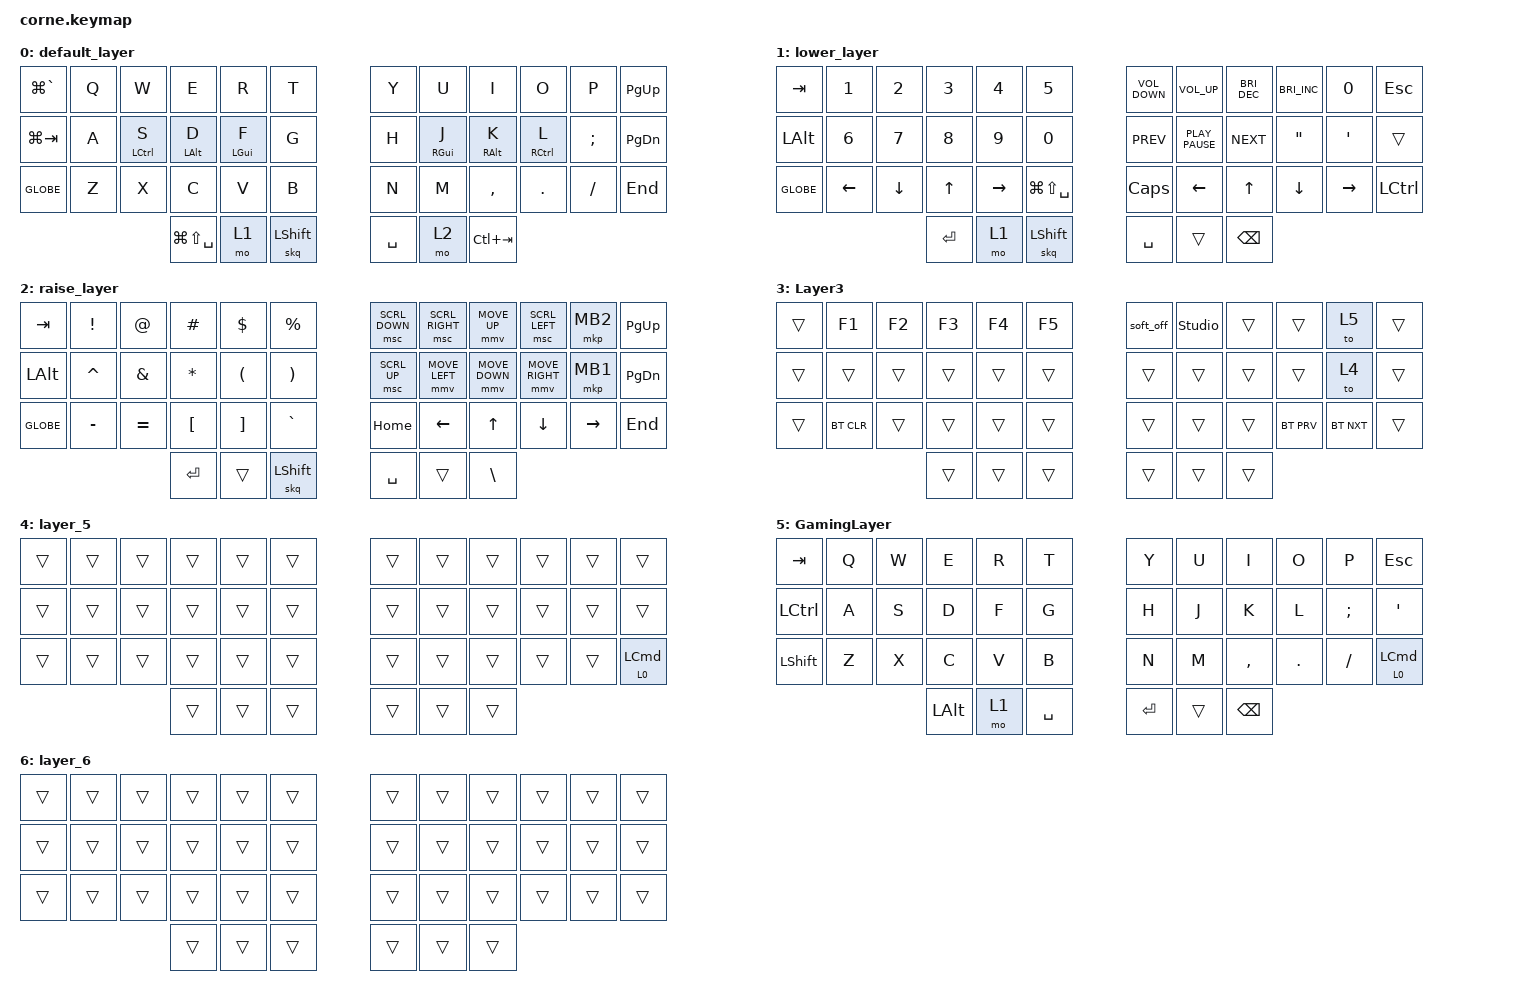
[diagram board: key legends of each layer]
/*
 * Copyright (c) 2020 The ZMK Contributors
 *
 * SPDX-License-Identifier: MIT
 */

#include <behaviors.dtsi>
#include <dt-bindings/zmk/bt.h>
#include <dt-bindings/zmk/keys.h>
#include <dt-bindings/zmk/pointing.h>

/ {
    behaviors {
        HML: HML {
            compatible = "zmk,behavior-hold-tap";
            label = "HML";
            bindings = <&kp>, <&kp>;

            #binding-cells = <2>;
            tapping-term-ms = <280>;
            flavor = "balanced";
            hold-while-undecided;
            hold-trigger-key-positions = <6 6 7 8 9 10 11 18 19 20 21 22 23 30 31 32 33 34 35 39 40 41>;
            hold-trigger-on-release;
            quick-tap-ms = <175>;
            require-prior-idle-ms = <150>;
        };

        HMR: HMR {
            compatible = "zmk,behavior-hold-tap";
            label = "HMR";
            bindings = <&kp>, <&kp>;

            #binding-cells = <2>;
            tapping-term-ms = <280>;
            flavor = "balanced";
            hold-while-undecided;
            hold-trigger-on-release;
            hold-trigger-key-positions = <2 3 4 5 14 15 16 17 26 27 28 29 36 37 38 0 1 12 13 24 25>;
            quick-tap-ms = <175>;
            require-prior-idle-ms = <150>;
        };

        resetLayer: resetLayer {
            compatible = "zmk,behavior-hold-tap";
            label = "RESETLAYER";
            bindings = <&to>, <&kp>;

            #binding-cells = <2>;
            flavor = "balanced";
            tapping-term-ms = <350>;
        };

        skq: skq {
            compatible = "zmk,behavior-sticky-key";
            label = "SKQ";
            bindings = <&sk>;
            #binding-cells = <1>;
            quick-release;
            release-after-ms = <1000>;
            ignore-modifiers;
        };

        LayerLeft: LayerLeft {
            compatible = "zmk,behavior-hold-tap";
            label = "LAYERLEFT";
            #binding-cells = <2>;
            tapping-term-ms = <280>;
            flavor = "balanced";
            hold-while-undecided;
            hold-trigger-on-release;
            quick-tap-ms = <175>;
            require-prior-idle-ms = <150>;
            bindings = <&mo>, <&kp>;

            hold-trigger-key-positions = <6 7 8 9 10 11 18 19 20 21 22 23 30 31 32 33 34 35 39 40 41>;
        };

        LayerRight: LayerRight {
            compatible = "zmk,behavior-hold-tap";
            label = "LAYERRIGHT";
            bindings = <&kp>, <&kp>;

            #binding-cells = <2>;
            tapping-term-ms = <280>;
            flavor = "balanced";
            hold-while-undecided;
            hold-trigger-on-release;
            hold-trigger-key-positions = <2 3 4 5 14 15 16 17 26 27 28 29 36 37 38 0 1 12 13 24 25>;
            quick-tap-ms = <175>;
            require-prior-idle-ms = <150>;
        };
    };

    combos {
        compatible = "zmk,combos";

        escape {
            bindings = <&kp ESCAPE>;
            key-positions = <9 10>;
            layers = <0 1 2 3>;
            timeout-ms = <30>;
            require-prior-idle-ms = <200>;
        };

        enter {
            bindings = <&kp ENTER>;
            key-positions = <4 3>;
            layers = <0 2 1 3>;
            require-prior-idle-ms = <200>;
            timeout-ms = <30>;
        };

        tab {
            bindings = <&kp TAB>;
            key-positions = <1 2>;
            layers = <0 1 2 3>;
            timeout-ms = <30>;
            require-prior-idle-ms = <200>;
        };

        NextTab {
            bindings = <&kp LC(TAB)>;
            key-positions = <6 7>;
            layers = <0>;
            require-prior-idle-ms = <350>;
            timeout-ms = <30>;
        };

        PreviousTab {
            bindings = <&kp LC(LS(TAB))>;
            key-positions = <4 5>;
            require-prior-idle-ms = <350>;
            layers = <0>;
            timeout-ms = <30>;
        };

        backspace {
            bindings = <&kp BACKSPACE>;
            key-positions = <8 7>;
            timeout-ms = <30>;
            layers = <0>;
            require-prior-idle-ms = <200>;
        };

        copy {
            bindings = <&kp LG(C)>;
            key-positions = <26 27>;
            layers = <0>;
            require-prior-idle-ms = <200>;
            timeout-ms = <30>;
        };

        paste {
            bindings = <&kp LG(V)>;
            key-positions = <27 28>;
            layers = <0>;
            require-prior-idle-ms = <350>;
            timeout-ms = <30>;
        };

        undo {
            bindings = <&kp LG(Z)>;
            key-positions = <25 26>;
            layers = <0>;
            require-prior-idle-ms = <200>;
            timeout-ms = <30>;
        };

        cut {
            bindings = <&kp LG(X)>;
            key-positions = <26 28>;
            layers = <0>;
            require-prior-idle-ms = <350>;
        };

        delete {
            bindings = <&kp DELETE>;
            key-positions = <8 9>;
            layers = <0>;
            require-prior-idle-ms = <200>;
            timeout-ms = <30>;
        };

        selectprevword {
            bindings = <&kp LA(LS(LEFT))>;
            key-positions = <13 14>;
            layers = <0>;
            timeout-ms = <30>;
            require-prior-idle-ms = <350>;
        };

        selectparagraph {
            bindings = <&kp LA(LS(UP_ARROW))>;
            key-positions = <14 15>;
            layers = <0>;
            timeout-ms = <30>;
            require-prior-idle-ms = <350>;
        };

        newTab {
            bindings = <&kp LG(T)>;
            key-positions = <18 19>;
            require-prior-idle-ms = <200>;
            timeout-ms = <30>;
            layers = <0>;
        };

        find {
            bindings = <&kp LG(F)>;
            key-positions = <16 17>;
            require-prior-idle-ms = <350>;
            layers = <0>;
            timeout-ms = <30>;
        };

        selectnextword {
            bindings = <&kp LS(LA(RIGHT))>;
            key-positions = <21 22>;
            timeout-ms = <30>;
            require-prior-idle-ms = <350>;
            layers = <0>;
        };

        selectnextparagraph {
            bindings = <&kp LS(LA(DOWN))>;
            key-positions = <20 21>;
            timeout-ms = <30>;
            require-prior-idle-ms = <350>;
            layers = <0>;
        };
    };

    macros {
        ShortcatLaunch: ShortcatLaunch {
            compatible = "zmk,behavior-macro";
            #binding-cells = <0>;
            bindings = <&kp LEFT_GUI &kp LEFT_SHIFT &kp SPACE>;
            label = "SHORTCATLAUNCH";
        };

        Launchpad: Launchpad {
            compatible = "zmk,behavior-macro";
            #binding-cells = <0>;
            bindings = <&kp GLOBE &kp LEFT_SHIFT &kp A>;
            label = "LAUNCHPAD";
        };
    };

    sk { quick-release; };

    keymap {
        compatible = "zmk,keymap";

        default_layer {
            // -----------------------------------------------------------------------------------------
            // |  TAB |  Q  |  W  |  E  |  R  |  T  |   |  Y  |  U   |  I  |  O  |  P  | BKSP |
            // | CTRL |  A  |  S  |  D  |  F  |  G  |   |  H  |  J   |  K  |  L  |  ;  |  '   |
            // | SHFT |  Z  |  X  |  C  |  V  |  B  |   |  N  |  M   |  ,  |  .  |  /  | ESC  |
            //                    | GUI | LWR | SPC |   | ENT | RSE  | ALT |

            bindings = <
&kp LG(GRAVE)  &kp Q  &kp W                &kp E              &kp R            &kp T              &kp Y      &kp U             &kp I             &kp O                 &kp P     &kp PAGE_UP
&kp LG(TAB)    &kp A  &HML LEFT_CONTROL S  &HML LEFT_ALT D    &HML LEFT_GUI F  &kp G              &kp H      &HMR RIGHT_GUI J  &HMR RIGHT_ALT K  &HMR RIGHT_CONTROL L  &kp SEMI  &kp PAGE_DOWN
&kp GLOBE      &kp Z  &kp X                &kp C              &kp V            &kp B              &kp N      &kp M             &kp COMMA         &kp DOT               &kp FSLH  &kp END
                                           &kp LG(LS(SPACE))  &mo 1            &skq LEFT_SHIFT    &kp SPACE  &mo 2             &kp LC(TAB)
            >;
        };

        lower_layer {
            // -----------------------------------------------------------------------------------------
            // |  TAB |  1  |  2  |  3  |  4  |  5  |   |  6  |  7  |  8  |  9  |  0  | BKSP |
            // | BTCLR| BT1 | BT2 | BT3 | BT4 | BT5 |   | LFT | DWN |  UP | RGT |     |      |
            // | SHFT |     |     |     |     |     |   |     |     |     |     |     |      |
            //                    | GUI |     | SPC |   | ENT |     | ALT |

            bindings = <
&kp TAB       &kp N1          &kp N2        &kp N3        &kp N4     &kp N5               &kp C_VOLUME_DOWN  &kp C_VOLUME_UP   &kp C_BRI_DEC  &kp C_BRIGHTNESS_INC  &kp N0            &kp ESCAPE
&kp LEFT_ALT  &kp NUMBER_6    &kp NUMBER_7  &kp N8        &kp N9     &kp N0               &kp K_PREV         &kp K_PLAY_PAUSE  &kp K_NEXT     &kp DOUBLE_QUOTES     &kp SINGLE_QUOTE  &trans
&kp GLOBE     &kp LEFT_ARROW  &kp DOWN      &kp UP_ARROW  &kp RIGHT  &kp LG(LS(SPACE))    &kp CAPSLOCK       &kp LEFT_ARROW    &kp UP_ARROW   &kp DOWN_ARROW        &kp RIGHT_ARROW   &kp LCTRL
                                            &kp ENTER     &mo 1      &skq LEFT_SHIFT      &kp SPACE          &trans            &kp BACKSPACE
            >;
        };

        raise_layer {
            // -----------------------------------------------------------------------------------------
            // |  TAB |  !  |  @  |  #  |  $  |  %  |   |  ^  |  &  |  *  |  (  |  )  | BKSP |
            // | CTRL |     |     |     |     |     |   |  -  |  =  |  [  |  ]  |  \  |  `   |
            // | SHFT |     |     |     |     |     |   |  _  |  +  |  {  |  }  | "|" |  ~   |
            //                    | GUI |     | SPC |   | ENT |     | ALT |

            bindings = <
&kp TAB       &kp EXCL   &kp AT         &kp HASH          &kp DLLR              &kp PRCNT                &msc SCRL_DOWN  &msc SCRL_RIGHT  &mmv MOVE_UP    &msc SCRL_LEFT   &mkp MB2   &kp PAGE_UP
&kp LEFT_ALT  &kp CARET  &kp AMPERSAND  &kp ASTERISK      &kp LEFT_PARENTHESIS  &kp RIGHT_PARENTHESIS    &msc SCRL_UP    &mmv MOVE_LEFT   &mmv MOVE_DOWN  &mmv MOVE_RIGHT  &mkp MB1   &kp PAGE_DOWN
&kp GLOBE     &kp MINUS  &kp EQUAL      &kp LEFT_BRACKET  &kp RIGHT_BRACKET     &kp GRAVE                &kp HOME        &kp LEFT_ARROW   &kp UP_ARROW    &kp DOWN         &kp RIGHT  &kp END
                                        &kp ENTER         &trans                &skq LEFT_SHIFT          &kp SPACE       &trans           &kp BACKSLASH
            >;
        };

        Layer3 {
            bindings = <
&trans  &kp F1      &kp F2  &kp F3  &kp F4  &kp F5    &soft_off  &studio_unlock  &trans  &trans      &to 5       &trans
&trans  &trans      &trans  &trans  &trans  &trans    &trans     &trans          &trans  &trans      &to 4       &trans
&trans  &bt BT_CLR  &trans  &trans  &trans  &trans    &trans     &trans          &trans  &bt BT_PRV  &bt BT_NXT  &trans
                            &trans  &trans  &trans    &trans     &trans          &trans
            >;
        };

        layer_5 {
            bindings = <
&trans  &trans  &trans  &trans  &trans  &trans    &trans  &trans  &trans  &trans  &trans  &trans
&trans  &trans  &trans  &trans  &trans  &trans    &trans  &trans  &trans  &trans  &trans  &trans
&trans  &trans  &trans  &trans  &trans  &trans    &trans  &trans  &trans  &trans  &trans  &resetLayer 0 LEFT_COMMAND
                        &trans  &trans  &trans    &trans  &trans  &trans
            >;
        };

        GamingLayer {
            bindings = <
&kp TAB         &kp Q  &kp W  &kp E     &kp R  &kp T        &kp Y    &kp U   &kp I      &kp O    &kp P     &kp ESC
&kp LCTRL       &kp A  &kp S  &kp D     &kp F  &kp G        &kp H    &kp J   &kp K      &kp L    &kp SEMI  &kp SQT
&kp LEFT_SHIFT  &kp Z  &kp X  &kp C     &kp V  &kp B        &kp N    &kp M   &kp COMMA  &kp DOT  &kp FSLH  &resetLayer 0 LEFT_COMMAND
                              &kp LALT  &mo 1  &kp SPACE    &kp RET  &trans  &kp BSPC
            >;
        };

        layer_6 {
            bindings = <
&trans  &trans  &trans  &trans  &trans  &trans    &trans  &trans  &trans  &trans  &trans  &trans
&trans  &trans  &trans  &trans  &trans  &trans    &trans  &trans  &trans  &trans  &trans  &trans
&trans  &trans  &trans  &trans  &trans  &trans    &trans  &trans  &trans  &trans  &trans  &trans
                        &trans  &trans  &trans    &trans  &trans  &trans
            >;
        };
    };

    conditional_layers {
        compatible = "zmk,conditional-layers";

        thirdlayer {
            if-layers = <1 2>;
            then-layer = <3>;
        };
    };
};
